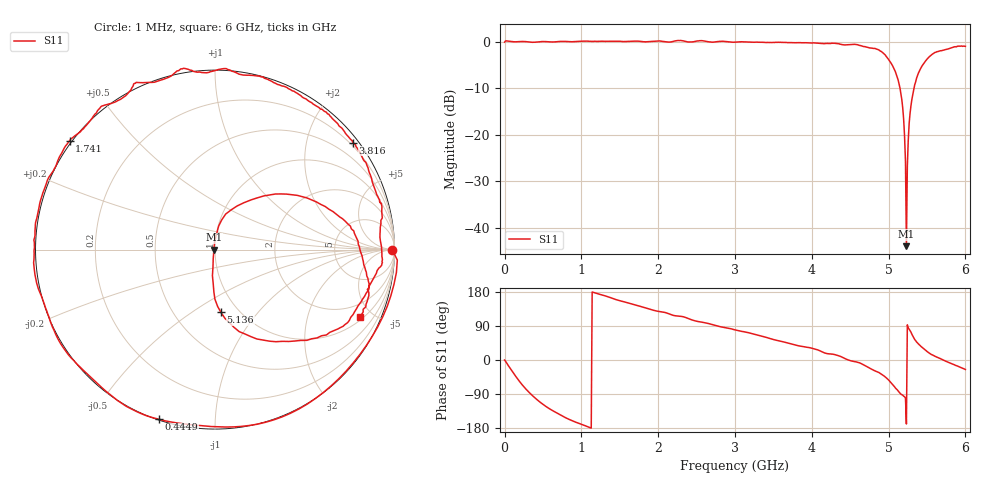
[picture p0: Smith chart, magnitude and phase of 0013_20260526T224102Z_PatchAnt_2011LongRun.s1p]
# Hz S RI R 50
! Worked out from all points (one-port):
!   501 points, 1 MHz to 6 GHz, reference 50 ohm
!   lowest |S11| = -44.0 dB at 5.232 GHz (marker M1), VSWR 1.01, Z = 49.4 - j0.12 ohm
!   |S11| at or under -10 dB: 5.149 GHz to 5.332 GHz (182.9 MHz wide, 3.49 % of centre)
!   S11 on the Smith chart (normalised r, x): 1 MHz: open; 444.9 MHz: 0.00, -0.72; 1.741 GHz: -0.01, +0.33; 3.816 GHz: 0.13, +2.91; 5.136 GHz: 0.83, -0.66; 6 GHz: 1.17, -4.22
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1000000  0.9883 -0.00183
8.4986e7  0.9063 -0.4309
2.16964e8  0.4679 -0.8878
3.0095e8  0.1462 -0.9851
4.44926e8  -0.3143 -0.9448
7.56874e8  -0.8562 -0.5302
1.056824e9  -1.007 -0.1065
1.50075e9  -0.9253 0.4039
1.74071e9  -0.8099 0.6074
2.256624e9  -0.4509 0.9251
3.0005e9  0.1795 0.9716
3.756374e9  0.7361 0.6365
3.816364e9  0.7677 0.5964
4.308282e9  0.9298 0.2276
4.50025e9  0.93 -0.0228
4.86019e9  0.6976 -0.435
5.028162e9  0.3044 -0.5102
5.136144e9  0.0332 -0.3498
5.184136e9  -0.00962 -0.1933
5.196134e9  -0.0143 -0.1453
5.208132e9  -0.0112 -0.095
5.232128e9  -0.00618 -0.00122
5.256124e9  0.00837 0.0867
5.268122e9  0.0203 0.1312
5.292118e9  0.0595 0.1981
5.412098e9  0.3984 0.3092
5.628062e9  0.7732 0.1041
6e9  0.8077 -0.375
